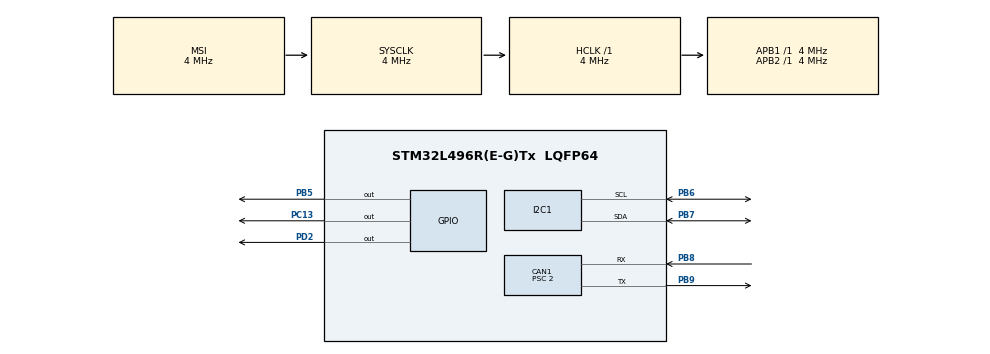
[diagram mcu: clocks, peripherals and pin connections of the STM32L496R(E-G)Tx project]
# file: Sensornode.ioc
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CAN1.BS1=CAN_BS1_6TQ
CAN1.BS2=CAN_BS2_8TQ
CAN1.CalculateTimeBit=7500
CAN1.CalculateTimeQuantum=500.0
CAN1.Mode=CAN_MODE_LOOPBACK
CAN1.Prescaler=2
Mcu.Family=STM32L4
Mcu.Name=STM32L496R(E-G)Tx
Mcu.Package=LQFP64
NVIC.CAN1_TX_IRQn=true\:0\:0\:false\:false\:true\:true
NVIC.PriorityGroup=NVIC_PRIORITYGROUP_4
NVIC.TIM2_IRQn=true\:0\:0\:false\:false\:true\:true
PB5.PinState=GPIO_PIN_RESET
PB5.Signal=GPIO_Output
PB6.Mode=I2C
PB6.Signal=I2C1_SCL
PB7.Mode=I2C
PB7.Signal=I2C1_SDA
PB8.Mode=Master
PB8.Signal=CAN1_RX
PB9.Mode=Master
PB9.Signal=CAN1_TX
PC13.PinState=GPIO_PIN_SET
PC13.Signal=GPIO_Output
PD2.Signal=GPIO_Output
ProjectManager.HeapSize=0x200
ProjectManager.StackSize=0x400
ProjectManager.TargetToolchain=SW4STM32
RCC.ADCFreq_Value=16000000
RCC.AHBFreq_Value=4000000
RCC.APB1Freq_Value=4000000
RCC.APB1TimFreq_Value=4000000
RCC.APB2Freq_Value=4000000
RCC.APB2TimFreq_Value=4000000
RCC.CortexFreq_Value=4000000
RCC.HCLKFreq_Value=4000000
RCC.HSE_VALUE=8000000
RCC.HSI48_VALUE=48000000
RCC.HSI_VALUE=16000000
RCC.LSE_VALUE=32768
RCC.MSI_VALUE=4000000
RCC.SYSCLKFreq_VALUE=4000000
RCC.USBFreq_Value=16000000
RCC.VCOOutputFreq_Value=32000000
TIM2.AutoReloadPreload=TIM_AUTORELOAD_PRELOAD_ENABLE
TIM2.Period=5000
TIM2.Prescaler=4000
VP_TIM2_VS_ClockSourceINT.Mode=Internal
board=Sensornode

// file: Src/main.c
/**
  ******************************************************************************
  * File Name          : main.c
  * Description        : Main program body
  ******************************************************************************
  ** This notice applies to any and all portions of this file
  * that are not between comment pairs USER CODE BEGIN and
  * USER CODE END. Other portions of this file, whether
  * inserted by the user or by software development tools
  * are owned by their respective copyright owners.
  *
  * COPYRIGHT(c) 2018 STMicroelectronics
  *
  * Redistribution and use in source and binary forms, with or without modification,
  * are permitted provided that the following conditions are met:
  *   1. Redistributions of source code must retain the above copyright notice,
  *      this list of conditions and the following disclaimer.
  *   2. Redistributions in binary form must reproduce the above copyright notice,
  *      this list of conditions and the following disclaimer in the documentation
  *      and/or other materials provided with the distribution.
  *   3. Neither the name of STMicroelectronics nor the names of its contributors
  *      may be used to endorse or promote products derived from this software
  *      without specific prior written permission.
  *
  * THIS SOFTWARE IS PROVIDED BY THE COPYRIGHT HOLDERS AND CONTRIBUTORS "AS IS"
  * AND ANY EXPRESS OR IMPLIED WARRANTIES, INCLUDING, BUT NOT LIMITED TO, THE
  * IMPLIED WARRANTIES OF MERCHANTABILITY AND FITNESS FOR A PARTICULAR PURPOSE ARE
  * DISCLAIMED. IN NO EVENT SHALL THE COPYRIGHT HOLDER OR CONTRIBUTORS BE LIABLE
  * FOR ANY DIRECT, INDIRECT, INCIDENTAL, SPECIAL, EXEMPLARY, OR CONSEQUENTIAL
  * DAMAGES (INCLUDING, BUT NOT LIMITED TO, PROCUREMENT OF SUBSTITUTE GOODS OR
  * SERVICES; LOSS OF USE, DATA, OR PROFITS; OR BUSINESS INTERRUPTION) HOWEVER
  * CAUSED AND ON ANY THEORY OF LIABILITY, WHETHER IN CONTRACT, STRICT LIABILITY,
  * OR TORT (INCLUDING NEGLIGENCE OR OTHERWISE) ARISING IN ANY WAY OUT OF THE USE
  * OF THIS SOFTWARE, EVEN IF ADVISED OF THE POSSIBILITY OF SUCH DAMAGE.
  *
  ******************************************************************************
  */
#include "main.h"
#include "stm32l4xx_hal.h"
#include "can.h"
#include "i2c.h"
#include "tim.h"
#include "gpio.h"

/* USER CODE BEGIN Includes */
#include <string.h>

#define NODEID 2 // id of sensornode
#define SHT_ADDRESS (0x44 << 1) // I2C address of SHT31-DIS-B sensor
#define SHT_MEASURE_COMMAND 0x2400 // measurement command for SHT31-DIS-B sensor
/* USER CODE END Includes */

/* USER CODE BEGIN PV */
/* Private variables ---------------------------------------------------------*/
static uint8_t shtMeasureData[5]; // measurement data (temperature and humidity) from SHT31-DIS-B sensor
static uint16_t st; // raw sensor output for temperature
static uint16_t srh; // raw sensor output for humidity
static float temperature; // value of temperature
static uint8_t humidity; // value of humidity

static CanTxMsgTypeDef txMessage;
static CanRxMsgTypeDef rxMessage;

uint8_t timer2lock = 1;
/* USER CODE END PV */

void SystemClock_Config(void);

/* USER CODE BEGIN PFP */
/* Private function prototypes -----------------------------------------------*/
void canInit();
void i2cInit();
void timerInit();
float readTemperature();
uint8_t readHumidity();
void sendCan(uint8_t id, char dataName, float dataValue);
/* USER CODE END PFP */

int main(void)
{

  /* MCU Configuration----------------------------------------------------------*/

  /* Reset of all peripherals, Initializes the Flash interface and the Systick. */
  HAL_Init();

  /* Configure the system clock */
  SystemClock_Config();

  /* Initialize all configured peripherals */
  MX_GPIO_Init();
  MX_CAN1_Init();
  MX_I2C1_Init();
  MX_TIM2_Init();

  /* USER CODE BEGIN 2 */
  canInit();
  i2cInit();
  timerInit();
  /* USER CODE END 2 */

  /* Infinite loop */
  /* USER CODE BEGIN WHILE */
  while (1)
  {
	  if (timer2lock == 0){
		  temperature = readTemperature();
		  sendCan(NODEID, 't', temperature);
		  humidity = readHumidity();
		  sendCan(NODEID, 'h', humidity);
		  timer2lock = 1;
	  }
  /* USER CODE END WHILE */

  }

}

/** System Clock Configuration
*/
void SystemClock_Config(void)
{

  RCC_OscInitTypeDef RCC_OscInitStruct;
  RCC_ClkInitTypeDef RCC_ClkInitStruct;
  RCC_PeriphCLKInitTypeDef PeriphClkInit;

    /**Initializes the CPU, AHB and APB busses clocks
    */
  RCC_OscInitStruct.OscillatorType = RCC_OSCILLATORTYPE_MSI;
  RCC_OscInitStruct.MSIState = RCC_MSI_ON;
  RCC_OscInitStruct.MSICalibrationValue = 0;
  RCC_OscInitStruct.MSIClockRange = RCC_MSIRANGE_6;
  RCC_OscInitStruct.PLL.PLLState = RCC_PLL_NONE;
  if (HAL_RCC_OscConfig(&RCC_OscInitStruct) != HAL_OK)
  {
    _Error_Handler(__FILE__, __LINE__);
  }

    /**Initializes the CPU, AHB and APB busses clocks
    */
  RCC_ClkInitStruct.ClockType = RCC_CLOCKTYPE_HCLK|RCC_CLOCKTYPE_SYSCLK
                              |RCC_CLOCKTYPE_PCLK1|RCC_CLOCKTYPE_PCLK2;
  RCC_ClkInitStruct.SYSCLKSource = RCC_SYSCLKSOURCE_MSI;
  RCC_ClkInitStruct.AHBCLKDivider = RCC_SYSCLK_DIV1;
  RCC_ClkInitStruct.APB1CLKDivider = RCC_HCLK_DIV1;
  RCC_ClkInitStruct.APB2CLKDivider = RCC_HCLK_DIV1;

  if (HAL_RCC_ClockConfig(&RCC_ClkInitStruct, FLASH_LATENCY_0) != HAL_OK)
  {
    _Error_Handler(__FILE__, __LINE__);
  }

  PeriphClkInit.PeriphClockSelection = RCC_PERIPHCLK_I2C1;
  PeriphClkInit.I2c1ClockSelection = RCC_I2C1CLKSOURCE_PCLK1;
  if (HAL_RCCEx_PeriphCLKConfig(&PeriphClkInit) != HAL_OK)
  {
    _Error_Handler(__FILE__, __LINE__);
  }

    /**Configure the main internal regulator output voltage
    */
  if (HAL_PWREx_ControlVoltageScaling(PWR_REGULATOR_VOLTAGE_SCALE1) != HAL_OK)
  {
    _Error_Handler(__FILE__, __LINE__);
  }

    /**Configure the Systick interrupt time
    */
  HAL_SYSTICK_Config(HAL_RCC_GetHCLKFreq()/1000);

    /**Configure the Systick
    */
  HAL_SYSTICK_CLKSourceConfig(SYSTICK_CLKSOURCE_HCLK);

  /* SysTick_IRQn interrupt configuration */
  HAL_NVIC_SetPriority(SysTick_IRQn, 0, 0);
}

/* USER CODE BEGIN 4 */
void canInit()
{
	HAL_GPIO_WritePin(GPIOB, GPIO_PIN_5, SET); // enable regulator for CAN transceiver and SHT sensor
	hcan1.pTxMsg = &txMessage;
	hcan1.pRxMsg = &rxMessage;
}

void i2cInit()
{
	HAL_I2C_Mem_Read(&hi2c1, SHT_ADDRESS, SHT_MEASURE_COMMAND, 2, shtMeasureData, 5, 1000);
}

void timerInit()
{
	HAL_TIM_Base_Start_IT(&htim2);
}

float readTemperature()
{
	uint8_t ready = -1;
	uint8_t read = -1;
	float temperature;

	while (ready != 0 && read != 0){
		ready = HAL_I2C_IsDeviceReady(&hi2c1, SHT_ADDRESS, 3, 1000); // check the connection to SHT sensor
	    read = HAL_I2C_Mem_Read(&hi2c1, SHT_ADDRESS, SHT_MEASURE_COMMAND, 2, shtMeasureData, 5, 1000); // read from SHT sensor
	}

	st = shtMeasureData[0]*256 + shtMeasureData[1]; // raw sensor output for temperature
	temperature = (float)(-45 + (float)(175*st)/65535); // value of temperature in Celsius

	return temperature;
}

uint8_t readHumidity()
{
	uint8_t ready = -1;
	uint8_t read = -1;
	uint8_t humidity;

	while (ready != 0 && read != 0){
		ready = HAL_I2C_IsDeviceReady(&hi2c1, SHT_ADDRESS, 3, 1000); // check connection to SHT sensor
	    read = HAL_I2C_Mem_Read(&hi2c1, SHT_ADDRESS, SHT_MEASURE_COMMAND, 2, shtMeasureData, 5, 1000); // read from SHT sensor
	}

	srh = shtMeasureData[3]*256 + shtMeasureData[4]; // raw sensor output for humidity
	humidity = (uint32_t)((100*srh)/65535); // value of humidity in %

	return humidity;
}

void sendCan(uint8_t id, char dataName, float dataValue)
{
	char sendString[30];
	char data[10];
	char nodeId[3];

	hcan1.pTxMsg->StdId = 0x11;
	hcan1.pTxMsg->RTR = CAN_RTR_DATA;
	hcan1.pTxMsg->IDE = CAN_ID_STD;
	hcan1.pTxMsg->DLC = 8;

	switch (dataName)
	{
		case 't':
			sprintf(nodeId, "%d", id);
			strcpy(sendString, nodeId);
			strcat(sendString, ",");
			strcat(sendString, "t,");
			sprintf(data, "%.1f", dataValue);
			strcat(sendString, data);
			strcpy((char *)hcan1.pTxMsg->Data, sendString);
			HAL_CAN_Transmit_IT(&hcan1);
			break;
		case 'h':
			sprintf(nodeId, "%d", id);
			strcpy(sendString, nodeId);
			strcat(sendString, ",");
			strcat(sendString, "h,");
			sprintf(data, "%.0f", dataValue);
			strcat(sendString, data);
			strcpy((char *)hcan1.pTxMsg->Data, sendString);
			HAL_CAN_Transmit_IT(&hcan1);
			break;
	}
}
/* USER CODE END 4 */

void _Error_Handler(char * file, int line)
{
  while(1)
  {
  }
}

/************************ (C) COPYRIGHT STMicroelectronics *****END OF FILE****/
